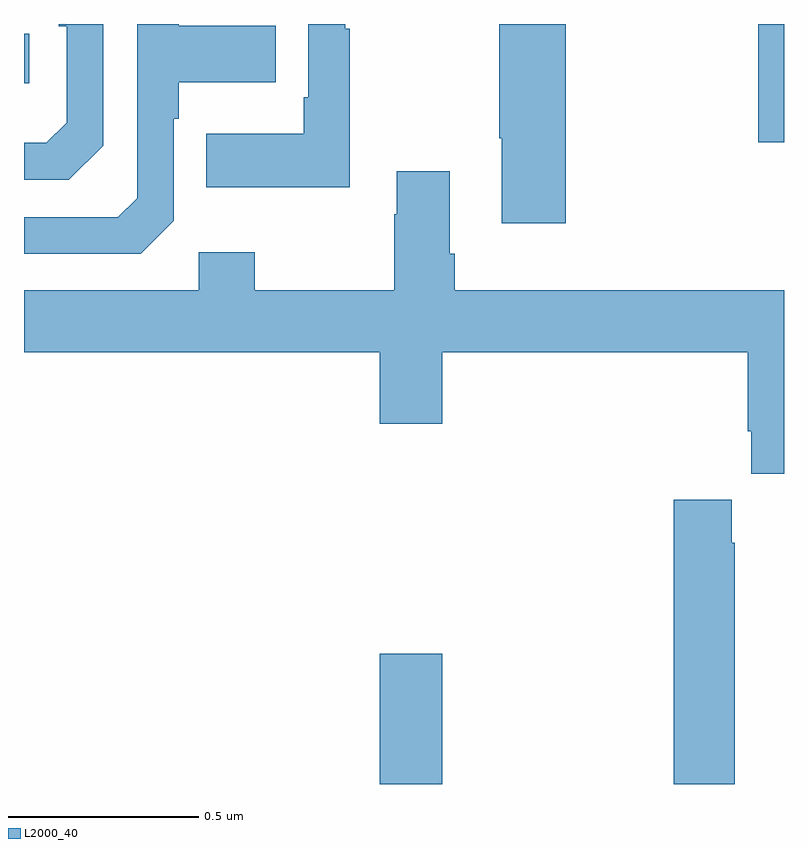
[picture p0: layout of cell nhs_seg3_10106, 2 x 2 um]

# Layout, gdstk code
import gdstk
lib = gdstk.Library(unit=1e-6, precision=1e-09)
def R(c, l, rs):  # rectangles x0, y0, x1, y1
    for r in rs: c.add(gdstk.rectangle(r[:2], r[2:], *l))
def P(c, l, *ps):  # polygons
    for p in ps: c.add(gdstk.Polygon(p, *l))
L2000_40 = (2000, 40)

nhs_seg3_10106 = lib.new_cell('nhs_seg3_10106')
R(nhs_seg3_10106, L2000_40, [(236.936,746.4,237.1,746.743), (237.932,748.089,238,748.4), (236,748.244,236.014,748.374)])
P(nhs_seg3_10106, L2000_40, [(237.425,748.4),(237.25,748.4),(237.25,748.099),(237.257,748.099),(237.257,747.876),(237.425,747.876)],
  [(236.394,747.882),(236.394,748.151),(236.407,748.151),(236.407,748.247),(236.663,748.247),(236.663,748.395),(236.407,748.395),(236.407,748.4),(236.298,748.4),(236.298,747.942),(236.247,747.891),(236,747.891),(236,747.795),(236.307,747.795)],
  [(236.208,748.08),(236.208,748.4),(236.092,748.4),(236.092,748.394),(236.112,748.394),(236.112,748.14),(236.059,748.087),(236,748.087),(236,747.99),(236.118,747.99)],
  [(236.857,748.387),(236.845,748.387),(236.845,748.4),(236.748,748.4),(236.748,748.207),(236.736,748.207),(236.736,748.111),(236.479,748.111),(236.479,747.971),(236.857,747.971)],
  [(236.46,747.799),(236.46,747.7),(236,747.7),(236,747.536),(236.936,747.536),(236.936,747.348),(237.1,747.348),(237.1,747.536),(237.905,747.536),(237.905,747.328),(237.914,747.328),(237.914,747.216),(238,747.216),(238,747.7),(237.134,747.7),(237.134,747.796),(237.121,747.796),(237.121,748.012),(236.981,748.012),(236.981,747.899),(236.974,747.899),(236.974,747.7),(236.607,747.7),(236.607,747.799)],
  [(237.87,747.035),(237.863,747.035),(237.863,747.148),(237.71,747.148),(237.71,746.4),(237.87,746.4)])

lib.write_gds('nhs_seg3_10106.gds')
